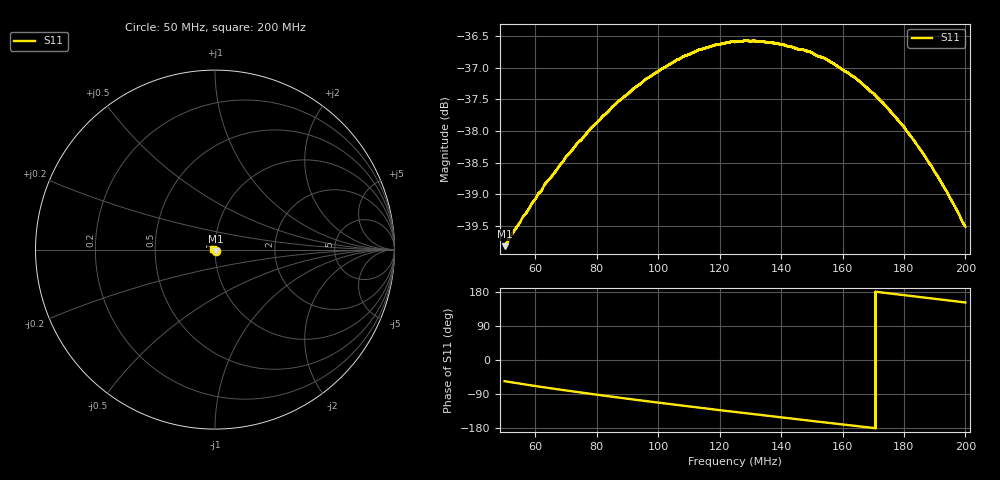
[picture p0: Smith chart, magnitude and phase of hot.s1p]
! COPPER MOUNTAIN TECHNOLOGIES, PLANAR TR1300/1, 00071119, 20.2.2/1.0
! Date: 11/21/2023 6:46:11 PM
! Data: Format [Calibration Info]
! Freq  S11: Re/Im F1
# HZ S RI R 50
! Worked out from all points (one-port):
!   12288 points, 50 MHz to 200 MHz, reference 50 ohm
!   lowest |S11| = -39.8 dB at 50.01 MHz (marker M1), VSWR 1.02, Z = 50.6 - j0.854 ohm
!   |S11| at or under -10 dB: start of sweep to end of sweep
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5e7  0.00574 -0.00844
5.001221e7  0.00573 -0.00844
6.330675e7  0.00342 -0.0109
6.875153e7  0.00227 -0.0117
7.341499e7  0.00125 -0.0122
7.809066e7  0.000124 -0.0127
8.750305e7  -0.00221 -0.0131
9.599984e7  -0.00437 -0.0131
1.062546e8  -0.00697 -0.0125
1.134085e8  -0.00858 -0.0118
1.188411e8  -0.0097 -0.0111
1.250061e8  -0.0108 -0.0101
1.285831e8  -0.0114 -0.00945
1.341987e8  -0.0123 -0.00832
1.388378e8  -0.0128 -0.00734
1.437576e8  -0.0133 -0.00623
1.492879e8  -0.0137 -0.00495
1.541467e8  -0.0139 -0.00383
1.625092e8  -0.0138 -0.00186
1.646944e8  -0.0138 -0.00137
1.706031e8  -0.0134 -2.78e-05
1.746439e8  -0.0131 0.00083
1.812607e8  -0.0124 0.00215
1.863026e8  -0.0117 0.00305
1.912346e8  -0.0109 0.00386
1.940791e8  -0.0104 0.00427
1.993041e8  -0.00943 0.00493
2e8  -0.00931 0.00502
